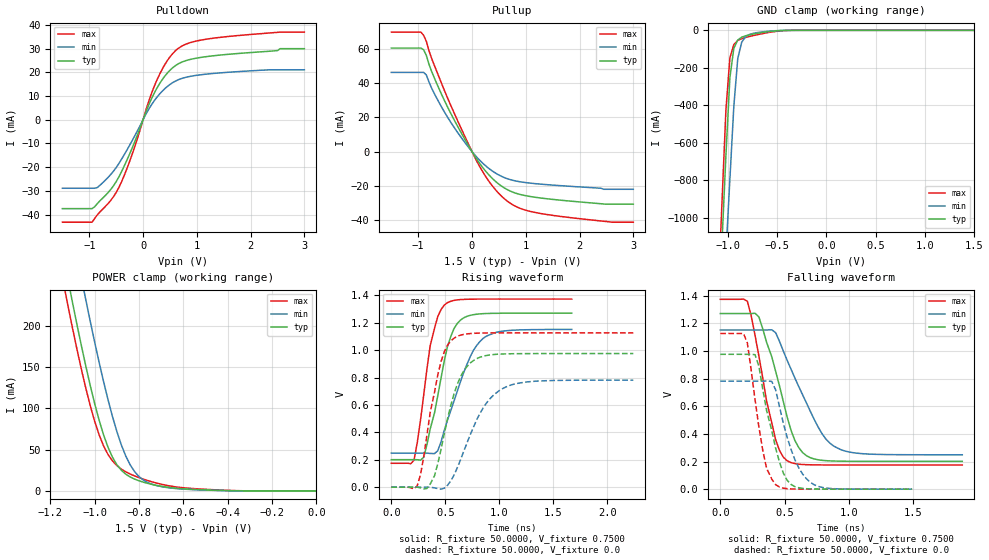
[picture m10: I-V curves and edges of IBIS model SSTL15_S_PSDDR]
| [Disclaimer] The data in this file is derived from SPICE simulations using
| modeling information extracted from the target process.
| A great deal of care has been taken to provide information
| that is accurate. This model has been verified by actual silicon
| measurement.
| [Copyright] Copyright 2012-2016, Xilinx Inc., All rights reserved
| From altair_2hdmi_3v3_8mA.ibs, ZYNQ, Xilinx Inc.
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[Model]  SSTL15_S_PSDDR
Model_type I/O
Polarity   Non-Inverting
Enable   Active-Low
Vinl = 0.65
Vinh = 0.85
Vmeas =  0.7500V
Cref =   0.0F
Rref =   50.0000
Vref =   0.7500V
C_comp   2.70pF 2.69pF  2.70pF
[Temperature Range]   25.0000   85.0000   0.0
[Voltage Range]   1.5000V   1.4250V   1.5750V
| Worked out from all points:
|   slope of the pulldown table from 0 to 0.225 V, typ, clamps not added: 18.8 ohm
|   slope of the pullup table from 0 to 0.225 V, typ, clamps not added: 21.8 ohm
|   GND clamp passes 1 mA (typ) near -0.45 V on its own axis
|   POWER clamp passes 1 mA (typ) near -0.48 V on its own axis
|   rising waveform, R_fixture 50.0000, V_fixture 0.7500: 20-80 % time 175ps typ, 246ps min, 135ps max; typ from 0.201 V to 1.27 V
|   rising waveform, R_fixture 50.0000, V_fixture 0.0: 20-80 % time 190ps typ, 274ps min, 155ps max; typ from 0 V to 0.975 V
|   falling waveform, R_fixture 50.0000, V_fixture 0.7500: 20-80 % time 192ps typ, 271ps min, 150ps max; typ from 1.27 V to 0.201 V
|   falling waveform, R_fixture 50.0000, V_fixture 0.0: 20-80 % time 140ps typ, 156ps min, 109ps max; typ from 0.975 V to 0 V
[Pulldown]
|Voltage   I(typ)   I(min)   I(max)
-1.5V     -37.5mA    -28.9mA    -43.22mA
-950mV    -37.5mA    -28.9mA    -43.22mA
-850mV    -35.37mA   -28.59mA   -40.12mA
-550mV    -27.87mA   -21.71mA   -32.47mA
-400mV    -21.9mA    -16.65mA   -26.21mA
-250mV    -14.47mA   -10.78mA   -17.59mA
100mV     5.93mA     4.225mA    7.409mA
250mV     13.02mA    9.277mA    16.35mA
450mV     19.66mA    14.01mA    24.9mA
650mV     23.54mA    16.83mA    30.04mA
1.35V     27.11mA    19.63mA    34.55mA
3V        30mA       21.1mA     37mA
[Pullup]
|Voltage   I(typ)   I(min)   I(max)
-1.5V     60.4mA     46.2mA     69.72mA
-950mV    60.4mA     46.2mA     69.72mA
-900mV    59.43mA    46.2mA     67.84mA
-850mV    56.19mA    44.75mA    64.44mA
-750mV    46.72mA    37mA       54.31mA
-500mV    28.96mA    22.43mA    34.69mA
0V        0A         0A         0A
300mV     -13.11mA   -9.512mA   -16.66mA
650mV     -22.09mA   -15.75mA   -28.75mA
900mV     -25.06mA   -17.65mA   -33.17mA
1.3V      -27.17mA   -19.06mA   -36.25mA
3V        -30.7mA    -22mA      -41.2mA
[GND_clamp]
|Voltage   I(typ)   I(min)   I(max)
-1.5V     -6.261A    -5.975A    -6.458A
-1.1V     -1.595A    -1.987A    -1.419A
-1.06V    -1.129A    -1.589A    -916.8mA
-1.02V    -665.9mA   -1.191A    -422.9mA
-980mV    -253.2mA   -794.6mA   -147.2mA
-940mV    -96.1mA    -405.1mA   -75.54mA
-900mV    -51.74mA   -150.7mA   -53.95mA
-860mV    -36.51mA   -63.2mA    -44.33mA
-820mV    -29.09mA   -33.3mA    -38.03mA
-780mV    -24mA      -21.55mA   -32.71mA
-500mV    -2.37mA    -1.614mA   -4.997mA
1.5V      2.628nA    79.86nA    1.985nA
[POWER_clamp]
|Voltage   I(typ)   I(min)   I(max)
-1.5V     825.2mA    911.6mA    791.5mA
-1.14V    283.6mA    370.2mA    251.3mA
-1.12V    255.8mA    341.8mA    224.1mA
-1.1V     228.6mA    313.6mA    197.6mA
-1.04V    151.5mA    231.9mA    124.7mA
-980mV    85.89mA    156.1mA    68.15mA
-940mV    53.11mA    110.9mA    44.31mA
-880mV    25.16mA    56.07mA    26.49mA
-840mV    16.94mA    31.67mA    20.51mA
-780mV    10.57mA    13.11mA    14.25mA
-680mV    4.78mA     4.341mA    6.982mA
0V        2.628nA    22.47nA    3.326nA
[Ramp]
| variable   typ   min   max
dV/dt_r  0.5864/0.1837n   0.488/0.2561n   0.6801/0.1475n
dV/dt_f  0.6414/0.1844n   0.4812/0.2714n   0.7194/0.1347n
R_load = 50.0000
[Rising Waveform]
R_fixture= 50.0000
V_fixture= 0.7500
V_fixture_min= 0.7125
V_fixture_max= 0.7875
|time   V(typ)   V(min)   V(max)
0s        201mV      248.6mV    174.8mV
210ps     201.4mV    248.6mV    197.8mV
300ps     219.1mV    249mV      674.7mV
360ps     426mV      246.5mV    1.035V
430ps     668.8mV    266.4mV    1.246V
490ps     921.7mV    414.3mV    1.329V
610ps     1.194V     699.3mV    1.367V
730ps     1.254V     951.8mV    1.372V
850ps     1.266V     1.087V     1.373V
1.67ns    1.27V      1.151V     1.373V
[Rising Waveform]
R_fixture= 50.0000
V_fixture= 0.0
|time   V(typ)   V(min)   V(max)
0s        -1.307uV   -259.5nV   -1.817uV
240ps     275.4uV    -14.82uV   10.85mV
330ps     -9.139mV   581.3uV    383.3mV
400ps     84.74mV    -4.261mV   694.8mV
490ps     390mV      -6.875mV   987.4mV
580ps     680.2mV    88.23mV    1.087V
730ps     906.3mV    382.4mV    1.121V
880ps     961.1mV    613.6mV    1.126V
1.03ns    972.2mV    719.7mV    1.126V
2.24ns    975.3mV    781.3mV    1.126V
[Falling Waveform]
R_fixture= 50.0000
V_fixture= 0.7500
V_fixture_min= 0.7125
V_fixture_max= 0.7875
|time   V(typ)   V(min)   V(max)
0s        1.27V      1.151V     1.373V
210ps     1.27V      1.151V     1.359V
300ps     1.245V     1.151V     962.2mV
360ps     1.061V     1.151V     635.9mV
430ps     852.2mV    1.132V     358.1mV
520ps     519.8mV    930.9mV    205.1mV
640ps     264.5mV    681.5mV    178.4mV
790ps     208.7mV    402mV      175.3mV
880ps     203.6mV    312.6mV    175mV
1.88ns    201mV      248.7mV    174.8mV
[Falling Waveform]
R_fixture= 50.0000
V_fixture= 0.0
|time   V(typ)   V(min)   V(max)
0s        975.3mV    781.3mV    1.126V
180ps     975.3mV    781.2mV    1.126V
210ps     975.2mV    781.3mV    1.058V
270ps     972.3mV    781.3mV    647.1mV
330ps     723.3mV    781.1mV    279.8mV
430ps     296.9mV    718.2mV    32.92mV
520ps     63.49mV    373.3mV    3.424mV
610ps     10.09mV    153.6mV    629.3uV
700ps     2.073mV    49.34mV    226.6uV
1.49ns    40.98uV    60uV       33.89uV
